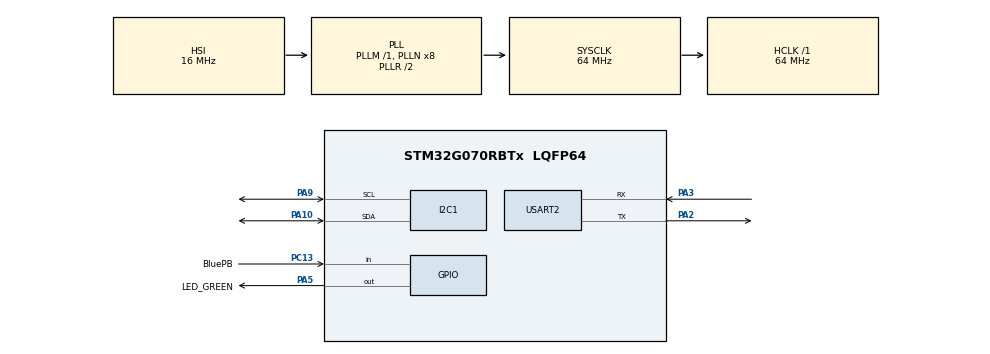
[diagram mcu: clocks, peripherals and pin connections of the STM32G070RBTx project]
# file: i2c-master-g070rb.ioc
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I2C1.GeneralCallMode=I2C_GENERALCALL_DISABLE
I2C1.OwnAddress=0
I2C1.Timing=0x10707DBC
Mcu.Family=STM32G0
Mcu.Name=STM32G070RBTx
Mcu.Package=LQFP64
NVIC.I2C1_IRQn=true\:0\:0\:false\:false\:true\:true\:true
PA10.Mode=I2C
PA10.Signal=I2C1_SDA
PA13.GPIO_Label=TMS
PA13.Mode=Serial_Wire
PA13.Signal=SYS_SWDIO
PA14-BOOT0.GPIO_Label=TCK
PA14-BOOT0.Mode=Serial_Wire
PA14-BOOT0.Signal=SYS_SWCLK
PA2.GPIO_PuPd=GPIO_PULLUP
PA2.Mode=Asynchronous
PA2.Signal=USART2_TX
PA3.GPIO_PuPd=GPIO_PULLUP
PA3.Mode=Asynchronous
PA3.Signal=USART2_RX
PA5.GPIO_Label=LED_GREEN
PA5.GPIO_Speed=GPIO_SPEED_FREQ_HIGH
PA5.Signal=GPIO_Output
PA9.Mode=I2C
PA9.Signal=I2C1_SCL
PC13.GPIO_Label=BluePB
PC13.Signal=GPIO_Input
PC14-OSC32_IN\ (PC14).Mode=LSE-External-Oscillator
PC14-OSC32_IN\ (PC14).Signal=RCC_OSC32_IN
PC15-OSC32_OUT\ (PC15).Mode=LSE-External-Oscillator
PC15-OSC32_OUT\ (PC15).Signal=RCC_OSC32_OUT
PF0-OSC_IN\ (PF0).GPIO_Label=MCO
PF0-OSC_IN\ (PF0).Mode=HSE-External-Clock-Source
PF0-OSC_IN\ (PF0).Signal=RCC_OSC_IN
ProjectManager.HeapSize=0x200
ProjectManager.StackSize=0x400
ProjectManager.TargetToolchain=MDK-ARM V5.27
RCC.ADCFreq_Value=64000000
RCC.AHBFreq_Value=64000000
RCC.CortexFreq_Value=64000000
RCC.EXTERNAL_CLOCK_VALUE=12288000
RCC.HCLKFreq_Value=64000000
RCC.HSE_VALUE=8000000
RCC.HSI_VALUE=16000000
RCC.SYSCLKFreq_VALUE=64000000
RCC.SYSCLKSource=RCC_SYSCLKSOURCE_PLLCLK
RCC.VCOOutputFreq_Value=128000000
TIM1.Prescaler=64-1
USART2.VirtualMode-Asynchronous=VM_ASYNC
USART2.WordLength=WORDLENGTH_7B
VP_SYS_VS_DBSignals.Mode=DisableDeadBatterySignals
VP_TIM1_VS_ClockSourceINT.Mode=Internal
board=NUCLEO-G070RB

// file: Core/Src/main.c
/* USER CODE BEGIN Header */
/**
  ******************************************************************************
  * @file           : main.c
  * @brief          : Main program body
  ******************************************************************************
  * @attention
  *
  * <h2><center>&copy; Copyright (c) 2022 STMicroelectronics.
  * All rights reserved.</center></h2>
  *
  * This software component is licensed by ST under BSD 3-Clause license,
  * the "License"; You may not use this file except in compliance with the
  * License. You may obtain a copy of the License at:
  *                        opensource.org/licenses/BSD-3-Clause
  *
  ******************************************************************************
  */
/* USER CODE END Header */
#include "main.h"

/* USER CODE BEGIN Includes */
#include "string.h"
#include "stdio.h"
/* USER CODE END Includes */

/* USER CODE BEGIN PD */
#define COUNTOF(__BUFFER__)   (sizeof(__BUFFER__) / sizeof(*(__BUFFER__)))
#define TXBUFFERSIZE					(COUNTOF(aTxBuffer) - 1)	// Size of Transmission buffer
#define RXBUFFERSIZE					TXBUFFERSIZE							// Size of Reception buffer
/* USER CODE END PD */

I2C_HandleTypeDef hi2c1;

TIM_HandleTypeDef htim1;

UART_HandleTypeDef huart2;

/* USER CODE BEGIN PV */
uint8_t aTxBuffer[] = "hai";												// Buffer for sending data to slave
uint8_t aRxBuffer[RXBUFFERSIZE];										// Buffer for receiving data from slave
_Bool flagReceive;
_Bool userPb = 0;
/* USER CODE END PV */

void SystemClock_Config(void);
static void MX_GPIO_Init(void);
static void MX_I2C1_Init(void);
static void MX_USART2_UART_Init(void);
static void MX_TIM1_Init(void);
/* USER CODE BEGIN PFP */
static uint16_t Buffercmp(uint8_t* pBuffer1, uint8_t* pBuffer2, uint16_t BufferLength);
void LED_TOGGLE();
void delay_us (uint16_t us);
void i2cCom();
/* USER CODE END PFP */

int main(void)
{
  /* USER CODE BEGIN 1 */
	HAL_StatusTypeDef ret;
  /* USER CODE END 1 */

  /* MCU Configuration--------------------------------------------------------*/

  /* Reset of all peripherals, Initializes the Flash interface and the Systick. */
  HAL_Init();

  /* Configure the system clock */
  SystemClock_Config();

  /* USER CODE BEGIN SysInit */
	flagReceive = 0;
  /* USER CODE END SysInit */

  /* Initialize all configured peripherals */
  MX_GPIO_Init();
  MX_I2C1_Init();
  MX_USART2_UART_Init();
  MX_TIM1_Init();
  /* USER CODE BEGIN 2 */
	HAL_TIM_Base_Start(&htim1);	// Start timer 1
	i2cCom();

  /* USER CODE END 2 */

  /* Infinite loop */
  while (1)
  {

  }
}

void SystemClock_Config(void)
{
  RCC_OscInitTypeDef RCC_OscInitStruct = {0};
  RCC_ClkInitTypeDef RCC_ClkInitStruct = {0};
  RCC_PeriphCLKInitTypeDef PeriphClkInit = {0};

  /** Configure the main internal regulator output voltage
  */
  HAL_PWREx_ControlVoltageScaling(PWR_REGULATOR_VOLTAGE_SCALE1);
  /** Initializes the RCC Oscillators according to the specified parameters
  * in the RCC_OscInitTypeDef structure.
  */
  RCC_OscInitStruct.OscillatorType = RCC_OSCILLATORTYPE_HSI;
  RCC_OscInitStruct.HSIState = RCC_HSI_ON;
  RCC_OscInitStruct.HSIDiv = RCC_HSI_DIV1;
  RCC_OscInitStruct.HSICalibrationValue = RCC_HSICALIBRATION_DEFAULT;
  RCC_OscInitStruct.PLL.PLLState = RCC_PLL_ON;
  RCC_OscInitStruct.PLL.PLLSource = RCC_PLLSOURCE_HSI;
  RCC_OscInitStruct.PLL.PLLM = RCC_PLLM_DIV1;
  RCC_OscInitStruct.PLL.PLLN = 8;
  RCC_OscInitStruct.PLL.PLLP = RCC_PLLP_DIV2;
  RCC_OscInitStruct.PLL.PLLR = RCC_PLLR_DIV2;
  if (HAL_RCC_OscConfig(&RCC_OscInitStruct) != HAL_OK)
  {
    Error_Handler();
  }
  /** Initializes the CPU, AHB and APB buses clocks
  */
  RCC_ClkInitStruct.ClockType = RCC_CLOCKTYPE_HCLK|RCC_CLOCKTYPE_SYSCLK
                              |RCC_CLOCKTYPE_PCLK1;
  RCC_ClkInitStruct.SYSCLKSource = RCC_SYSCLKSOURCE_PLLCLK;
  RCC_ClkInitStruct.AHBCLKDivider = RCC_SYSCLK_DIV1;
  RCC_ClkInitStruct.APB1CLKDivider = RCC_HCLK_DIV1;

  if (HAL_RCC_ClockConfig(&RCC_ClkInitStruct, FLASH_LATENCY_2) != HAL_OK)
  {
    Error_Handler();
  }
  /** Initializes the peripherals clocks
  */
  PeriphClkInit.PeriphClockSelection = RCC_PERIPHCLK_USART2|RCC_PERIPHCLK_I2C1;
  PeriphClkInit.Usart2ClockSelection = RCC_USART2CLKSOURCE_PCLK1;
  PeriphClkInit.I2c1ClockSelection = RCC_I2C1CLKSOURCE_PCLK1;
  if (HAL_RCCEx_PeriphCLKConfig(&PeriphClkInit) != HAL_OK)
  {
    Error_Handler();
  }
}

static void MX_I2C1_Init(void)
{

  hi2c1.Instance = I2C1;
  hi2c1.Init.Timing = 0x10707DBC;
  hi2c1.Init.OwnAddress1 = 0;
  hi2c1.Init.AddressingMode = I2C_ADDRESSINGMODE_7BIT;
  hi2c1.Init.DualAddressMode = I2C_DUALADDRESS_DISABLE;
  hi2c1.Init.OwnAddress2 = 0;
  hi2c1.Init.OwnAddress2Masks = I2C_OA2_NOMASK;
  hi2c1.Init.GeneralCallMode = I2C_GENERALCALL_DISABLE;
  hi2c1.Init.NoStretchMode = I2C_NOSTRETCH_DISABLE;
  if (HAL_I2C_Init(&hi2c1) != HAL_OK)
  {
    Error_Handler();
  }
  /** Configure Analogue filter
  */
  if (HAL_I2CEx_ConfigAnalogFilter(&hi2c1, I2C_ANALOGFILTER_ENABLE) != HAL_OK)
  {
    Error_Handler();
  }
  /** Configure Digital filter
  */
  if (HAL_I2CEx_ConfigDigitalFilter(&hi2c1, 0) != HAL_OK)
  {
    Error_Handler();
  }

}

static void MX_TIM1_Init(void)
{

  TIM_ClockConfigTypeDef sClockSourceConfig = {0};
  TIM_MasterConfigTypeDef sMasterConfig = {0};

  htim1.Instance = TIM1;
  htim1.Init.Prescaler = 64-1;
  htim1.Init.CounterMode = TIM_COUNTERMODE_UP;
  htim1.Init.Period = 65535;
  htim1.Init.ClockDivision = TIM_CLOCKDIVISION_DIV1;
  htim1.Init.RepetitionCounter = 0;
  htim1.Init.AutoReloadPreload = TIM_AUTORELOAD_PRELOAD_DISABLE;
  if (HAL_TIM_Base_Init(&htim1) != HAL_OK)
  {
    Error_Handler();
  }
  sClockSourceConfig.ClockSource = TIM_CLOCKSOURCE_INTERNAL;
  if (HAL_TIM_ConfigClockSource(&htim1, &sClockSourceConfig) != HAL_OK)
  {
    Error_Handler();
  }
  sMasterConfig.MasterOutputTrigger = TIM_TRGO_RESET;
  sMasterConfig.MasterOutputTrigger2 = TIM_TRGO2_RESET;
  sMasterConfig.MasterSlaveMode = TIM_MASTERSLAVEMODE_DISABLE;
  if (HAL_TIMEx_MasterConfigSynchronization(&htim1, &sMasterConfig) != HAL_OK)
  {
    Error_Handler();
  }

}

static void MX_USART2_UART_Init(void)
{

  huart2.Instance = USART2;
  huart2.Init.BaudRate = 115200;
  huart2.Init.WordLength = UART_WORDLENGTH_7B;
  huart2.Init.StopBits = UART_STOPBITS_1;
  huart2.Init.Parity = UART_PARITY_NONE;
  huart2.Init.Mode = UART_MODE_TX_RX;
  huart2.Init.HwFlowCtl = UART_HWCONTROL_NONE;
  huart2.Init.OverSampling = UART_OVERSAMPLING_16;
  huart2.Init.OneBitSampling = UART_ONE_BIT_SAMPLE_DISABLE;
  huart2.Init.ClockPrescaler = UART_PRESCALER_DIV1;
  huart2.AdvancedInit.AdvFeatureInit = UART_ADVFEATURE_NO_INIT;
  if (HAL_UART_Init(&huart2) != HAL_OK)
  {
    Error_Handler();
  }
  if (HAL_UARTEx_SetTxFifoThreshold(&huart2, UART_TXFIFO_THRESHOLD_1_8) != HAL_OK)
  {
    Error_Handler();
  }
  if (HAL_UARTEx_SetRxFifoThreshold(&huart2, UART_RXFIFO_THRESHOLD_1_8) != HAL_OK)
  {
    Error_Handler();
  }
  if (HAL_UARTEx_DisableFifoMode(&huart2) != HAL_OK)
  {
    Error_Handler();
  }

}

static void MX_GPIO_Init(void)
{
  GPIO_InitTypeDef GPIO_InitStruct = {0};

  /* GPIO Ports Clock Enable */
  __HAL_RCC_GPIOC_CLK_ENABLE();
  __HAL_RCC_GPIOF_CLK_ENABLE();
  __HAL_RCC_GPIOA_CLK_ENABLE();

  /*Configure GPIO pin Output Level */
  HAL_GPIO_WritePin(LED_GREEN_GPIO_Port, LED_GREEN_Pin, GPIO_PIN_RESET);

  /*Configure GPIO pin : BluePB_Pin */
  GPIO_InitStruct.Pin = BluePB_Pin;
  GPIO_InitStruct.Mode = GPIO_MODE_INPUT;
  GPIO_InitStruct.Pull = GPIO_NOPULL;
  HAL_GPIO_Init(BluePB_GPIO_Port, &GPIO_InitStruct);

  /*Configure GPIO pin : LED_GREEN_Pin */
  GPIO_InitStruct.Pin = LED_GREEN_Pin;
  GPIO_InitStruct.Mode = GPIO_MODE_OUTPUT_PP;
  GPIO_InitStruct.Pull = GPIO_NOPULL;
  GPIO_InitStruct.Speed = GPIO_SPEED_FREQ_HIGH;
  HAL_GPIO_Init(LED_GREEN_GPIO_Port, &GPIO_InitStruct);

}

/* USER CODE BEGIN 4 */
void delay_us (uint16_t us)
{
	__HAL_TIM_SET_COUNTER(&htim1,0);  // set the counter value a 0
	while (__HAL_TIM_GET_COUNTER(&htim1) < us);  // wait for the counter to reach the us input in the parameter
}

void i2cCom()
{
	while (buttonState != GPIO_PIN_RESET) {}		// Wait for push button press
	HAL_Delay(50);	// Delay for signal rebound when PB Release
	while (buttonState != GPIO_PIN_SET) {}			// Wait for push button release

	// Master data transmission process from master to slave
	do
	{
		if(HAL_I2C_Master_Transmit_IT(&hi2c1, G031_ADDR, (uint8_t*)aTxBuffer, TXBUFFERSIZE) != HAL_OK)
		{
			// Error_Handler() function is called when error occurs
			Error_Handler();
		}

		// Waiting the end of the data transfer process before starting new transfer
		while (HAL_I2C_GetState(&hi2c1) != HAL_I2C_STATE_READY)	{}
	}

	// When Acknowledge failure occurs (Slave don't acknowledge it's address) Master restarts communication
	while(HAL_I2C_GetError(&hi2c1) == HAL_I2C_ERROR_AF);

	while (buttonState != GPIO_PIN_RESET) {}		// Wait for push button press
	HAL_Delay(50);	// Delay for signal rebound when PB Release
	while (buttonState != GPIO_PIN_SET) {}			// Wait for push button release

	// Master data receive process from slave to master
	do
	{
		if(HAL_I2C_Master_Receive_IT(&hi2c1, G031_ADDR, (uint8_t*)aRxBuffer, RXBUFFERSIZE) != HAL_OK)
		{
			// Error_Handler() function is called when error occurs
			Error_Handler();
		}

		// Waiting the end of the data transfer process before starting new transfer
		while (HAL_I2C_GetState(&hi2c1) != HAL_I2C_STATE_READY)	{}
	}

	// When Acknowledge failure occurs (Slave don't acknowledge it's address) Master restarts communication
	while(HAL_I2C_GetError(&hi2c1) == HAL_I2C_ERROR_AF);

	while (HAL_I2C_GetState(&hi2c1) != HAL_I2C_STATE_READY){}

  // Compare the sent and received buffers
  if(Buffercmp((uint8_t*)aTxBuffer,(uint8_t*)aRxBuffer,RXBUFFERSIZE))
  {
    // Processing Error
    Error_Handler();
  }
}

void LED_TOGGLE()
{
	HAL_GPIO_TogglePin(GPIOA, GPIO_PIN_5);
}

// Tx transfer completed callback
void HAL_I2C_MasterTxCpltCallback(I2C_HandleTypeDef *hi2c)
{
	LED_TOGGLE();
}

// Rx tranfer completed callback
void HAL_I2C_MasterRxCpltCallback(I2C_HandleTypeDef *hi2c)
{
	flagReceive = 1;
	LED_TOGGLE();
}

void HAL_I2C_ErrorCallback(I2C_HandleTypeDef *I2cHandle)
{
  /*
		Error_Handler() function is called when error occurs.
    - 1. When Slave don't acknowledge it's address, Master restarts communication.
    - 2. When Master don't acknowledge the last data transferred, Slave don't care in this example.
  */
  if (HAL_I2C_GetError(I2cHandle) != HAL_I2C_ERROR_AF)
  {
    Error_Handler();
  }
}

/**
  * @brief  Compares two buffers.
  * @param  pBuffer1, pBuffer2: buffers to be compared.
  * @param  BufferLength: buffer's length
  * @retval 0  : pBuffer1 identical to pBuffer2
  *         >0 : pBuffer1 differs from pBuffer2
  */
static uint16_t Buffercmp(uint8_t *pBuffer1, uint8_t *pBuffer2, uint16_t BufferLength)
{
  while (BufferLength--)
  {
    if ((*pBuffer1) != *pBuffer2)
    {
      return BufferLength;
    }
    pBuffer1++;
    pBuffer2++;
  }

  return 0;
}

/* USER CODE END 4 */

void Error_Handler(void)
{
  /* USER CODE BEGIN Error_Handler_Debug */
  /* User can add his own implementation to report the HAL error return state */
  while (1)
  {
		LED_TOGGLE();
		HAL_Delay(1000);
  }
  /* USER CODE END Error_Handler_Debug */
}

#ifdef  USE_FULL_ASSERT
/**
  * @brief  Reports the name of the source file and the source line number
  *         where the assert_param error has occurred.
  * @param  file: pointer to the source file name
  * @param  line: assert_param error line source number
  * @retval None
  */
void assert_failed(uint8_t *file, uint32_t line)
{
  /* USER CODE BEGIN 6 */
  /* User can add his own implementation to report the file name and line number,
    ex: printf("Wrong parameters value: file %s on line %d\r\n", file, line) */
  Error_Handler();
  /* USER CODE END 6 */
}
#endif /* USE_FULL_ASSERT */

/************************ (C) COPYRIGHT STMicroelectronics *****END OF FILE****/
